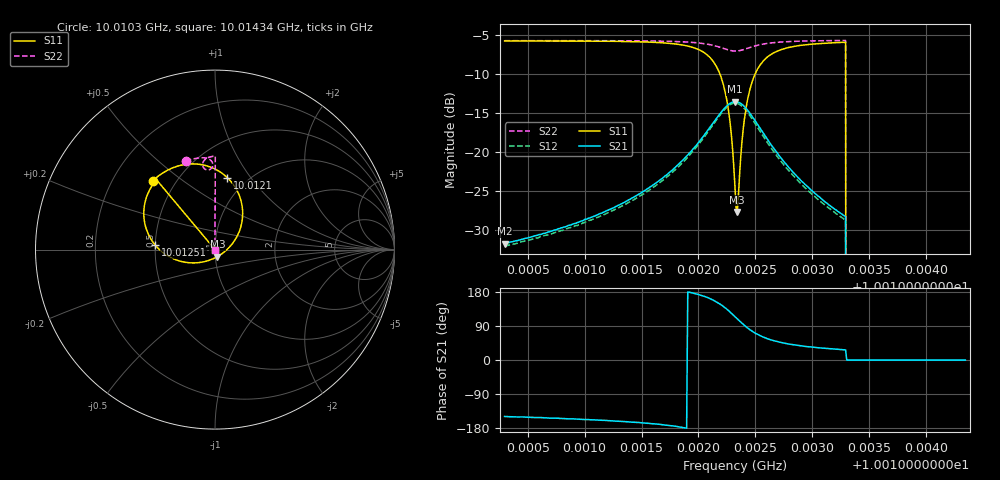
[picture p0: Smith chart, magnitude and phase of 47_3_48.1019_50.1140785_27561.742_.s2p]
#  HZ  S  RI  R  50.00
! Rohde & Schwarz Vector Network Analyzer
! Rohde-Schwarz,ZNB20-2Port,1311601062101988,3.16
! Created: UTC 12/23/2023, 3:39:23 AM
! freq[Hz]  re:S11  im:S11  re:S21  im:S21  re:S12  im:S12  re:S22  im:S22
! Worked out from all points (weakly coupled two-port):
!   401 points, 10.0103 GHz to 10.01434 GHz, reference 50 ohm
!   highest |S21| = -13.51 dB at 10.01232 GHz (marker M1); lowest = -31.7 dB at 10.0103 GHz (marker M2)
!   lowest |S11| = -27.7 dB at 10.01234 GHz (marker M3), VSWR 1.09, Z = 51.2 - j4.02 ohm
!   |S11| at or under -10 dB: 10.01219 GHz to 10.0125 GHz (308.2 kHz wide, 0.00308 % of centre); 10.01329 GHz to end of sweep
!   |S22| runs from - to -5.7 dB; largest |S21 - S12| = 0.0099
!   S11 on the Smith chart (normalised r, x): 10.0103 GHz: 0.37, +0.39; 10.0121 GHz: 0.81, +0.78; 10.01251 GHz: 0.50, +0.03; 10.01434 GHz: 1.00, +0.00
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1.0010297e10  -0.3474 0.3834  -0.0222 -0.0133  -0.0207 -0.0139  -0.1628 0.4931
1.0010975e10  -0.291 0.4269  -0.0333 -0.0143  -0.0312 -0.0154  -0.1179 0.5059
1.0011653e10  -0.1777 0.4727  -0.0645 -0.0118  -0.0612 -0.0148  -0.0652 0.5119
1.0011936e10  -0.058 0.4698  -0.1014 0.00404  -0.0983 -0.00144  -0.036 0.506
1.0012098e10  0.0682 0.4012  -0.1366 0.0433  -0.135 0.0353  -0.0173 0.4901
1.0012179e10  0.1358 0.3  -0.1489 0.088  -0.1499 0.0787  -0.0123 0.4734
1.001224e10  0.153 0.1757  -0.1415 0.1344  -0.1446 0.1258  -0.0161 0.4579
1.001228e10  0.1257 0.0793  -0.1205 0.1675  -0.1245 0.1597  -0.0247 0.4488
1.0012321e10  0.0589 -0.00714  -0.0866 0.1924  -0.0914 0.1852  -0.0371 0.4441
1.0012341e10  0.0132 -0.0392  -0.0664 0.1996  -0.0716 0.1925  -0.0437 0.4441
1.0012351e10  -0.0121 -0.0518  -0.056 0.2016  -0.0609 0.1946  -0.0471 0.4447
1.0012391e10  -0.1159 -0.0742  -0.0158 0.1996  -0.0198 0.1931  -0.0587 0.4505
1.0012422e10  -0.1892 -0.0658  0.011 0.1893  0.00559 0.183  -0.0646 0.4575
1.0012462e10  -0.2674 -0.0322  0.0371 0.1695  0.0307 0.1641  -0.0687 0.4674
1.0012513e10  -0.3342 0.0261  0.0559 0.1422  0.0498 0.1376  -0.0689 0.4794
1.0012604e10  -0.3867 0.1274  0.0672 0.1009  0.0608 0.0984  -0.0621 0.4949
1.0012725e10  -0.3959 0.2239  0.0633 0.0661  0.0578 0.0654  -0.0495 0.5068
1.0012998e10  -0.3635 0.3341  0.0468 0.0317  0.0431 0.0318  -0.0224 0.5175
1.0013272e10  -0.3282 0.3862  0.0352 0.0179  0.0324 0.0188  0.000149 0.521
1.0013322e10  0 0  0 0  0 0  0 0
1.0013676e10  0 0  0 0  0 0  0 0
1.0014344e10  0 0  0 0  0 0  0 0
